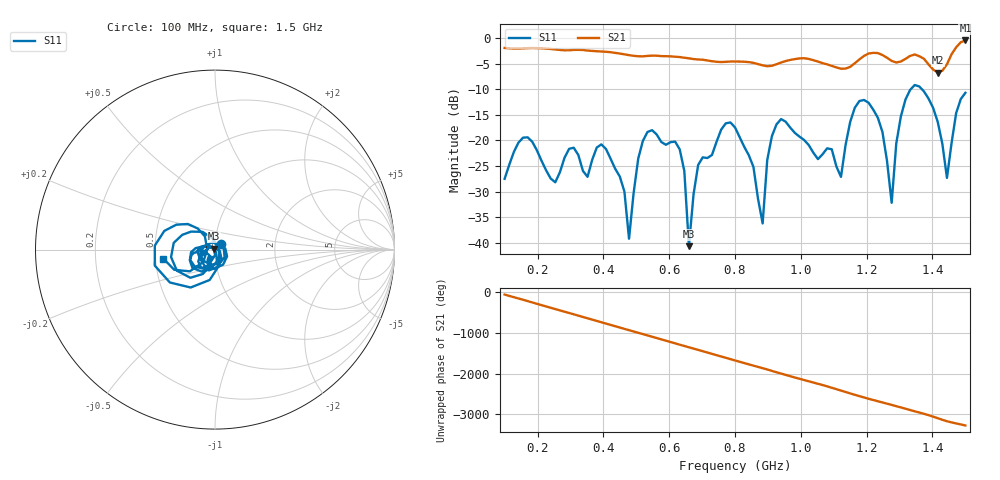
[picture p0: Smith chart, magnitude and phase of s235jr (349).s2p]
! NanoVNA-App
! Date: 2025-09-25 15:06:53
! Start: 100MHz Stop: 1,5GHz Points: 101
! S-Parameter data: F S11 S21 S12 S22
# Hz S RI R 50
!  Frequency  S11_Real  S11_Imag  S21_Real  S21_Imag  S12_Real  S12_Imag  S22_Real  S22_Imag
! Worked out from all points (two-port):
!   101 points, 100 MHz to 1.5 GHz, reference 50 ohm
!   highest |S21| = -0.50 dB at 1.5 GHz (marker M1); lowest = -6.8 dB at 1.416 GHz (marker M2)
!   |S21| within 3 dB of the highest: start of sweep to 492.8 MHz; 1.192 GHz to 1.252 GHz (59.88 MHz wide, 4.9 % of centre) (the widest 2 of 5)
!   lowest |S11| = -40.6 dB at 660 MHz (marker M3), VSWR 1.02, Z = 49.2 + j0.515 ohm
!   |S11| at or under -10 dB: start of sweep to 1.334 GHz; 1.368 GHz to end of sweep
!   S12 and S22 are empty: the file has one direction only
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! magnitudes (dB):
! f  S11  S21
! 100 MHz  -27.5  -2.0
! 156 MHz  -19.4  -2.1
! 338 MHz  -25.9  -2.4
! 408 MHz  -21.7  -2.7
! 478 MHz  -39.1  -3.4
! 520 MHz  -20.1  -3.6
! 576 MHz  -20.3  -3.6
! 632 MHz  -21.7  -3.7
! 660 MHz  -40.6  -4.0
! 688 MHz  -24.8  -4.2
! 800 MHz  -17.4  -4.6
! 884 MHz  -36.2  -5.4
! 926 MHz  -16.9  -5.1
! 1.038 GHz  -22.4  -4.3
! 1.122 GHz  -27.1  -6.0
! 1.164 GHz  -13.6  -4.9
! 1.206 GHz  -12.7  -3.1
! 1.276 GHz  -32.1  -4.5
! 1.332 GHz  -10.1  -3.5
! 1.416 GHz  -16.4  -6.8
! 1.444 GHz  -27.3  -5.2
! 1.5 GHz  -10.7  -0.5
